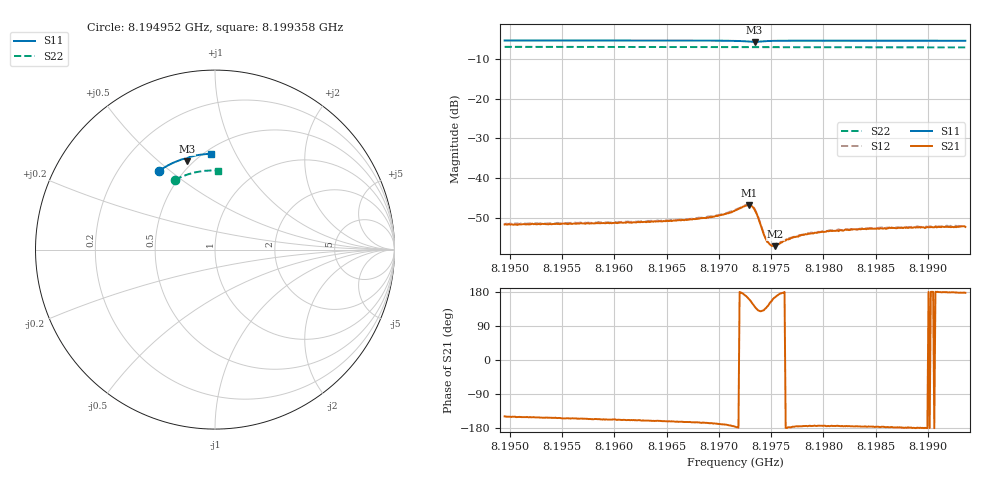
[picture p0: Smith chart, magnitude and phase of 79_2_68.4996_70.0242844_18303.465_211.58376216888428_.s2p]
#  HZ  S  RI  R  50.00
! Rohde & Schwarz Vector Network Analyzer
! Rohde-Schwarz,ZNB20-2Port,1311601062101988,3.16
! Created: UTC 3/20/2024, 4:52:04 PM
! freq[Hz]  re:S11  im:S11  re:S21  im:S21  re:S12  im:S12  re:S22  im:S22
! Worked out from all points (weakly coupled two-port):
!   401 points, 8.194952 GHz to 8.199358 GHz, reference 50 ohm
!   highest |S21| = -46.75 dB at 8.197287 GHz (marker M1); lowest = -57.0 dB at 8.197541 GHz (marker M2)
!   lowest |S11| = -5.7 dB at 8.197342 GHz (marker M3), VSWR 3.14, Z = 23.2 + j31.2 ohm
!   |S11| at or under -10 dB: nowhere
!   |S22| runs from -7.1 to -7.0 dB; largest |S21 - S12| = 0.00024
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8.1949517e9  -0.3108 0.4393  -0.00225 -0.00136  -0.00233 -0.0013  -0.223 0.388
8.1956898e9  -0.2662 0.467  -0.00245 -0.00116  -0.00253 -0.00106  -0.1859 0.4056
8.1964279e9  -0.2187 0.4901  -0.00273 -0.000954  -0.00279 -0.000841  -0.1471 0.4203
8.1968796e9  -0.1872 0.5019  -0.00307 -0.000771  -0.00317 -0.000679  -0.1226 0.4271
8.1970339e9  -0.1749 0.505  -0.00344 -0.000619  -0.00351 -0.000494  -0.1142 0.4292
8.1971551e9  -0.1639 0.5059  -0.00392 -0.000284  -0.00402 -0.000135  -0.1074 0.4306
8.1972432e9  -0.1548 0.5029  -0.00441 0.000576  -0.00446 0.000769  -0.1026 0.4317
8.1972873e9  -0.1519 0.4982  -0.00436 0.00146  -0.00437 0.00168  -0.1002 0.4319
8.1973203e9  -0.1529 0.4942  -0.00381 0.00225  -0.00379 0.00243  -0.0986 0.4322
8.1973423e9  -0.1555 0.4927  -0.00315 0.00253  -0.00311 0.00274  -0.0975 0.4323
8.1973754e9  -0.1595 0.4938  -0.00213 0.00244  -0.00209 0.00255  -0.0957 0.4328
8.1974415e9  -0.1606 0.5019  -0.00129 0.0013  -0.00125 0.00139  -0.0922 0.4336
8.1974635e9  -0.1594 0.5043  -0.00123 0.000995  -0.00123 0.00107  -0.0909 0.4341
8.1974966e9  -0.1571 0.5072  -0.00129 0.000651  -0.0013 0.000713  -0.0891 0.4343
8.1975186e9  -0.1552 0.5087  -0.00135 0.000464  -0.00134 0.00052  -0.0878 0.4346
8.1975406e9  -0.1534 0.5098  -0.00136 0.000342  -0.00143 0.000419  -0.0867 0.4347
8.1977169e9  -0.1391 0.5163  -0.00182 -0.000123  -0.00184 -6.86e-05  -0.0768 0.4364
8.1978381e9  -0.1299 0.5192  -0.00197 -0.000208  -0.00203 -0.000143  -0.07 0.4374
8.1978932e9  -0.1257 0.5202  -0.00202 -0.000214  -0.00204 -0.000129  -0.0668 0.4377
8.1981355e9  -0.1082 0.5241  -0.0022 -0.000246  -0.00226 -0.000145  -0.0531 0.4392
8.1986313e9  -0.0728 0.5298  -0.0024 -9.92e-05  -0.00238 -4.38e-05  -0.0253 0.4408
8.1993584e9  -0.0211 0.5336  -0.00245 0.000111  -0.0025 0.000224  0.0156 0.4399
